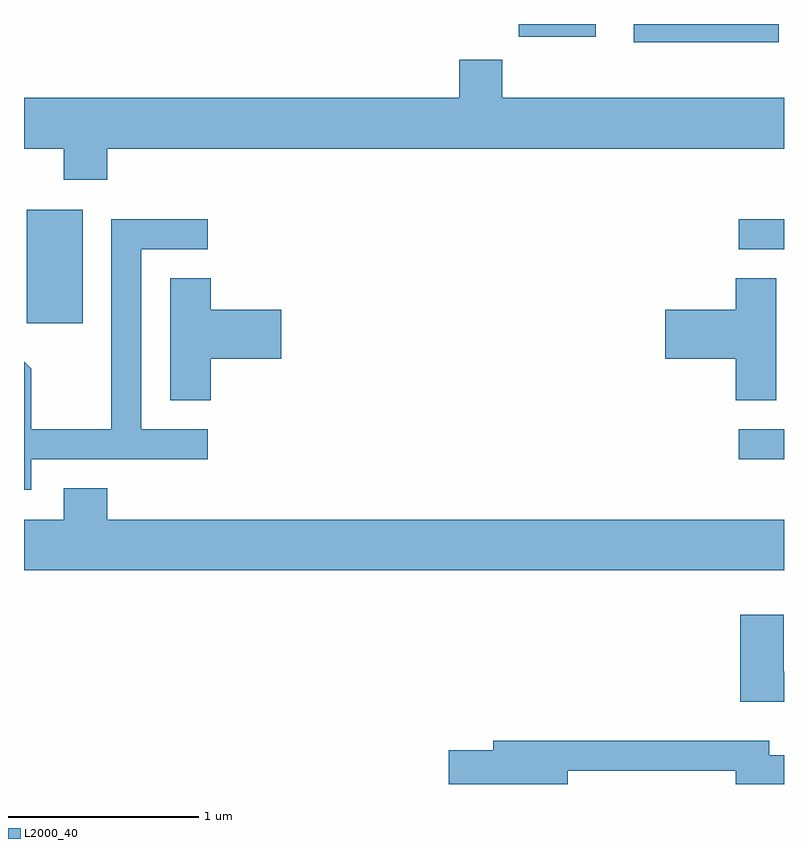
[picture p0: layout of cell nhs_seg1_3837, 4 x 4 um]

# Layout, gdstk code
import gdstk
lib = gdstk.Library(unit=1e-6, precision=1e-09)
def R(c, l, rs):  # rectangles x0, y0, x1, y1
    for r in rs: c.add(gdstk.rectangle(r[:2], r[2:], *l))
def P(c, l, *ps):  # polygons
    for p in ps: c.add(gdstk.Polygon(p, *l))
L2000_40 = (2000, 40)

nhs_seg1_3837 = lib.new_cell('nhs_seg1_3837')
R(nhs_seg1_3837, L2000_40, [(303.373,973.421,303.611,973.579), (299.626,974.136,299.919,974.734), (303.373,974.526,303.611,974.684), (302.821,975.616,303.584,975.712), (302.216,975.646,302.619,975.712)])
P(nhs_seg1_3837, L2000_40, [(300.049,975.056),(303.611,975.056),(303.611,975.324),(302.129,975.324),(302.129,975.524),(301.901,975.524),(301.901,975.324),(299.611,975.324),(299.611,975.056),(299.821,975.056),(299.821,974.891),(300.049,974.891)],
  [(299.649,973.421),(300.578,973.421),(300.578,973.579),(300.229,973.579),(300.229,974.526),(300.578,974.526),(300.578,974.684),(300.071,974.684),(300.071,973.579),(299.649,973.579),(299.649,973.897),(299.611,973.935),(299.611,973.261),(299.649,973.261)],
  [(303.569,974.374),(303.356,974.374),(303.356,974.209),(302.986,974.209),(302.986,973.951),(303.356,973.951),(303.356,973.731),(303.569,973.731)],
  [(300.594,973.951),(300.964,973.951),(300.964,974.209),(300.594,974.209),(300.594,974.374),(300.381,974.374),(300.381,973.731),(300.594,973.731)],
  [(303.611,973.104),(300.049,973.104),(300.049,973.269),(299.821,973.269),(299.821,973.104),(299.611,973.104),(299.611,972.836),(303.611,972.836)],
  [(303.611,972.304),(303.609,972.304),(303.609,972.604),(303.381,972.604),(303.381,972.146),(303.611,972.146)],
  [(302.474,971.781),(303.356,971.781),(303.356,971.712),(303.611,971.712),(303.611,971.864),(303.534,971.864),(303.534,971.939),(302.081,971.939),(302.081,971.889),(301.846,971.889),(301.846,971.712),(302.474,971.712)])

lib.write_gds('nhs_seg1_3837.gds')
